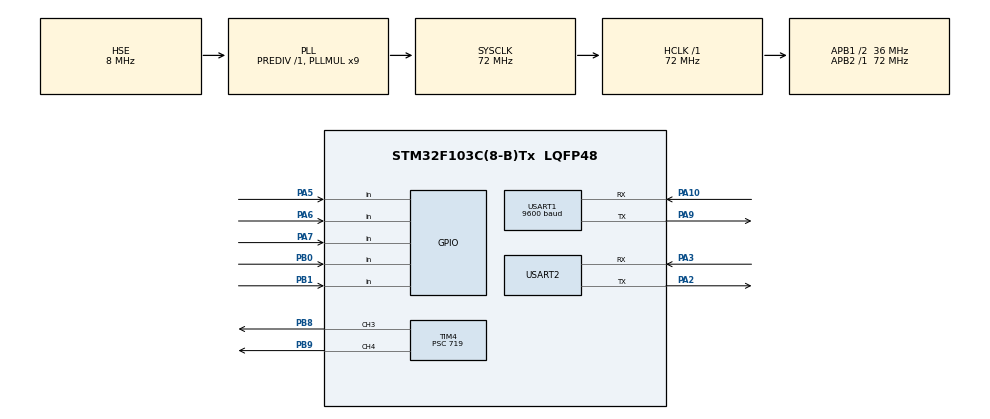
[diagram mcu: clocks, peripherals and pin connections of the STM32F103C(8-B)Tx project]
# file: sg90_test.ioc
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Mcu.Family=STM32F1
Mcu.Name=STM32F103C(8-B)Tx
Mcu.Package=LQFP48
NVIC.PriorityGroup=NVIC_PRIORITYGROUP_4
NVIC.USART1_IRQn=true\:0\:0\:false\:false\:true\:true\:true\:true
PA10.Mode=Asynchronous
PA10.Signal=USART1_RX
PA13.Mode=Serial_Wire
PA13.Signal=SYS_JTMS-SWDIO
PA14.Mode=Serial_Wire
PA14.Signal=SYS_JTCK-SWCLK
PA2.Mode=Asynchronous
PA2.Signal=USART2_TX
PA3.Mode=Asynchronous
PA3.Signal=USART2_RX
PA5.GPIO_PuPd=GPIO_PULLUP
PA5.Signal=GPIO_Input
PA6.GPIO_PuPd=GPIO_PULLUP
PA6.Signal=GPIO_Input
PA7.GPIO_PuPd=GPIO_PULLUP
PA7.Signal=GPIO_Input
PA9.Mode=Asynchronous
PA9.Signal=USART1_TX
PB0.GPIO_PuPd=GPIO_PULLUP
PB0.Signal=GPIO_Input
PB1.GPIO_PuPd=GPIO_PULLUP
PB1.Signal=GPIO_Input
PB8.Signal=S_TIM4_CH3
PB9.Signal=S_TIM4_CH4
PD0-OSC_IN.Mode=HSE-External-Oscillator
PD0-OSC_IN.Signal=RCC_OSC_IN
PD1-OSC_OUT.Mode=HSE-External-Oscillator
PD1-OSC_OUT.Signal=RCC_OSC_OUT
ProjectManager.HeapSize=0x200
ProjectManager.StackSize=0x400
ProjectManager.TargetToolchain=MDK-ARM V5.32
RCC.AHBFreq_Value=72000000
RCC.APB1CLKDivider=RCC_HCLK_DIV2
RCC.APB1Freq_Value=36000000
RCC.APB1TimFreq_Value=72000000
RCC.APB2Freq_Value=72000000
RCC.APB2TimFreq_Value=72000000
RCC.HCLKFreq_Value=72000000
RCC.PLLMUL=RCC_PLL_MUL9
RCC.PLLSourceVirtual=RCC_PLLSOURCE_HSE
RCC.SYSCLKFreq_VALUE=72000000
RCC.SYSCLKSource=RCC_SYSCLKSOURCE_PLLCLK
RCC.USBFreq_Value=72000000
SH.S_TIM4_CH3.0=TIM4_CH3,PWM Generation3 CH3
SH.S_TIM4_CH4.0=TIM4_CH4,PWM Generation4 CH4
TIM4.AutoReloadPreload=TIM_AUTORELOAD_PRELOAD_ENABLE
TIM4.Channel-PWM\ Generation3\ CH3=TIM_CHANNEL_3
TIM4.Channel-PWM\ Generation4\ CH4=TIM_CHANNEL_4
TIM4.Period=1999
TIM4.Prescaler=719
USART1.BaudRate=9600
USART1.VirtualMode=VM_ASYNC
USART2.VirtualMode=VM_ASYNC
VP_TIM4_VS_ClockSourceINT.Mode=Internal
board=custom

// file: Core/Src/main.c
/* USER CODE BEGIN Header */
/**
  ******************************************************************************
  * @file           : main.c
  * @brief          : Main program body
  ******************************************************************************
  * @attention
  *
  * Copyright (c) 2022 STMicroelectronics.
  * All rights reserved.
  *
  * This software is licensed under terms that can be found in the LICENSE file
  * in the root directory of this software component.
  * If no LICENSE file comes with this software, it is provided AS-IS.
  *
  ******************************************************************************
  */
/* USER CODE END Header */
#include "main.h"
#include "tim.h"
#include "usart.h"
#include "gpio.h"

/* USER CODE BEGIN Includes */
#include "pid.h"
#include <stdio.h>
#include <string.h>
#include <stdlib.h>
/* USER CODE END Includes */

void SystemClock_Config(void);

/* USER CODE BEGIN 0 */
extern uint8_t buf;
float pwm_sx = 0,pwm_zy = 0;
int flag_3 = 0,flag_3_pr = 0;
float Openmv_X1,Openmv_Y2,Openmv_X3,Openmv_Y4,Openmv_X5,Openmv_Y6,Openmv_X7,Openmv_Y8,Openmv_X9,Openmv_Y0;
/* USER CODE END 0 */

int main(void)
{
  /* USER CODE BEGIN 1 */
	int flag_2 = 0,flag_2_sw = 0;

	int num = 0;
	unsigned char ch[20] = {0};
	int pwmval;
	float i;

  /* USER CODE END 1 */

  /* MCU Configuration--------------------------------------------------------*/

  /* Reset of all peripherals, Initializes the Flash interface and the Systick. */
  HAL_Init();

  /* Configure the system clock */
  SystemClock_Config();

  /* Initialize all configured peripherals */
  MX_GPIO_Init();
  MX_TIM4_Init();
  MX_USART1_UART_Init();
  MX_USART2_UART_Init();
  /* USER CODE BEGIN 2 */
	HAL_TIM_PWM_Start(&htim4,TIM_CHANNEL_3);
	HAL_TIM_PWM_Start(&htim4,TIM_CHANNEL_4);
	HAL_UART_Receive_IT(&huart1, &buf, 1);
	PID_Init();
  /* USER CODE END 2 */

  /* Infinite loop */
  while (1)
  {

    /* USER CODE BEGIN 3 */

		/********************第一题**********************************/

//		for(i=0;i<=249;i++)
//		{
//			__HAL_TIM_SetCompare(&htim4, TIM_CHANNEL_3, i);
//			HAL_Delay(40);
//		}
//		for(i=250;i>=1;i--)
//		{
//			__HAL_TIM_SetCompare(&htim4, TIM_CHANNEL_3, i);
//			HAL_Delay(40);
//		}
//		HAL_Delay(1000);
//		pwmval = (int)((1-((0.5+0/90.0)/20.0))) -5;
//		__HAL_TIM_SetCompare(&htim4, TIM_CHANNEL_3, pwmval); //180
//		printf("%d\r\n",pwmval);
//		HAL_Delay(1000);
//		pwmval = (int)((1-((0.5+45/90.0)/20.0))) -5;
//		__HAL_TIM_SetCompare(&htim4, TIM_CHANNEL_3, pwmval); //0
//		printf("%d\r\n",pwmval);
//		HAL_Delay(1000);
//		pwmval = (int)((1-((0.5+90/90.0)/20.0))) -5;
//		__HAL_TIM_SetCompare(&htim4, TIM_CHANNEL_3, pwmval); //45
//		printf("%d\r\n",pwmval);
//		HAL_Delay(1000);
//		pwmval = (int)((1-((0.5+135/90.0)/20.0))) -5;
//		__HAL_TIM_SetCompare(&htim4, TIM_CHANNEL_3, pwmval); //90
//		printf("%d\r\n",pwmval);
//		HAL_Delay(1000);
//		pwmval = (int)((1-((0.5+180/90.0)/20.0))) -5;
//		__HAL_TIM_SetCompare(&htim4, TIM_CHANNEL_3, pwmval); //135
//		printf("%d\r\n",pwmval);

//		for(i=0;i<=179;i++)
//		{
//			Servo_Control_sx(i);
//			HAL_Delay(2);
//		}
//		HAL_Delay(2);
//		for(i=180;i>=1;i--)
//		{
//			Servo_Control_sx(i);
//			HAL_Delay(2);
//		}
//		HAL_Delay(2);

		if(HAL_GPIO_ReadPin(GPIOA,GPIO_PIN_5) == GPIO_PIN_RESET)
		{
			__HAL_TIM_SetCompare(&htim4, TIM_CHANNEL_3, 140); //90
			__HAL_TIM_SetCompare(&htim4, TIM_CHANNEL_4, 160); //90
			HAL_Delay(1000);
			//pwm_sx = 149,pwm_zy = 149;
			__HAL_TIM_SetCompare(&htim4, TIM_CHANNEL_3, 149); //90
			__HAL_TIM_SetCompare(&htim4, TIM_CHANNEL_4, 149); //90
		}

		/********************第一题**********************************/

		/********************第二题**********************************/

		if(HAL_GPIO_ReadPin(GPIOA,GPIO_PIN_6) == GPIO_PIN_RESET)
		{
			flag_2 = 1;
		}

		if(flag_2 == 1)
		{
			for(i=150;i>=135;i--)//中间到中下
			{
				__HAL_TIM_SetCompare(&htim4, TIM_CHANNEL_3, i);
				HAL_Delay(20);
			}

			for(i=150;i<=165;i++)//中下到左下
			{
				__HAL_TIM_SetCompare(&htim4, TIM_CHANNEL_4, i);
				HAL_Delay(20);
			}

			for(i=135;i<=166;i++)//左下到左上
			{
				__HAL_TIM_SetCompare(&htim4, TIM_CHANNEL_3, i);
				HAL_Delay(20);
			}

			for(i=165;i>=134;i--)//左上到右上
			{
				__HAL_TIM_SetCompare(&htim4, TIM_CHANNEL_4, i);
				HAL_Delay(20);
			}

			for(i=166;i>=135;i--)//右上到右下
			{
				__HAL_TIM_SetCompare(&htim4, TIM_CHANNEL_3, i);
				HAL_Delay(20);
			}

			for(i=134;i<=150;i++)//右下到中下
			{
				__HAL_TIM_SetCompare(&htim4, TIM_CHANNEL_4, i);
				HAL_Delay(20);

			}

			for(i=135;i<=150;i++)//中下到中间
			{
				__HAL_TIM_SetCompare(&htim4, TIM_CHANNEL_3, i);
				HAL_Delay(20);
			}
			flag_2 = 0;
		}

		/********************第二题**********************************/

		/********************第三题**********************************/

		if(HAL_GPIO_ReadPin(GPIOA,GPIO_PIN_7) == GPIO_PIN_RESET)
		{
			flag_3 = 1;
			flag_3_pr = 6;
			PID_Init_3();
		}
		if(HAL_GPIO_ReadPin(GPIOB,GPIO_PIN_0) == GPIO_PIN_RESET)
		{
			flag_3 = 1;
			flag_3_pr = 1;
		}

		if(flag_3 == 1)
		{

			/**********写死***************/
			if(flag_3_pr == 6)
			{
				Openmv_X1 =-23;
				Openmv_Y2 = -17;
				implement(Openmv_X1,Openmv_Y2);
				flag_3_pr = 7;
				HAL_Delay(2000);
			}

			if(flag_3_pr == 7)
			{
				Openmv_X3=53;
				Openmv_Y4 = 3;
				implement(Openmv_X3,Openmv_Y4);
				flag_3_pr = 8;
				HAL_Delay(2000);
			}

			if(flag_3_pr == 8)
			{
				Openmv_X5 =0;
				Openmv_Y6 = 34;
				implement(Openmv_X5,Openmv_Y6);
				flag_3_pr = 9;
				HAL_Delay(2000);
			}

			if(flag_3_pr == 9)
			{
				Openmv_X5 =-57;
				Openmv_Y6 = 3;
				implement(Openmv_X5,Openmv_Y6);
				flag_3_pr = 10;
				HAL_Delay(2000);
			}

			if(flag_3_pr == 10)
			{
				Openmv_X9 =0;
				Openmv_Y0 =-36;
				implement(Openmv_X9,Openmv_Y0);
				flag_3_pr = 5;
				HAL_Delay(2000);
				PID_Init();
			}

//			/**********写死***************/
//
//
			if(flag_3_pr == 1)
			{
//				if(Openmv_X1==0)
//				{
//					HAL_UART_Transmit(&huart2, "1", strlen("1"),100);
//					HAL_UART_Receive(&huart2, ch, 19, 100);
//					Openmv_X1 = (float)atof(ch);
//					printf("px1:%f\r\n",Openmv_X1);
//					memset(ch, 0, strlen(ch));
//				}
//
//				if(Openmv_X1!=0)
//				{
//					HAL_UART_Transmit(&huart2, "2", strlen("2"),100);
//					HAL_UART_Receive(&huart2, ch, 19, 100);
//					Openmv_Y2 = (float)atof(ch);
//					printf("py2:%f\r\n",Openmv_Y2);
//					memset(ch, 0, strlen(ch));
//				}
//				if(Openmv_Y2!=0)
//				{
//					HAL_UART_Transmit(&huart2, "3", strlen("3"),100);
//					HAL_UART_Receive(&huart2, ch, 19, 100);
//					Openmv_X3 = (float)atof(ch);
//					printf("px3:%f\r\n",Openmv_X3);
//					memset(ch, 0, strlen(ch));
//				}
//				if(Openmv_X3!=0)
//				{
//					HAL_UART_Transmit(&huart2, "4", strlen("4"),100);
//					HAL_UART_Receive(&huart2, ch, 19, 100);
//					Openmv_Y4 = (float)atof(ch);
//					printf("py4:%f\r\n",Openmv_Y4);
//					memset(ch, 0, strlen(ch));
//				}
//				if(Openmv_Y4!=0)
//				{
//					HAL_UART_Transmit(&huart2, "5", strlen("5"),100);
//					HAL_UART_Receive(&huart2, ch, 19, 100);
//					Openmv_X5 = (float)atof(ch);
//					printf("px5:%f\r\n",Openmv_X5);
//					memset(ch, 0, strlen(ch));
//				}
//				if(Openmv_X5!=0)
//				{
//					HAL_UART_Transmit(&huart2, "6", strlen("6"),100);
//					HAL_UART_Receive(&huart2, ch, 19, 100);
//					Openmv_Y6 = (float)atof(ch);
//					printf("py6:%f\r\n",Openmv_Y6);
//					memset(ch, 0, strlen(ch));
//				}
//				if(Openmv_Y6!=0)
//				{
//					HAL_UART_Transmit(&huart2, "7", strlen("7"),100);
//					HAL_UART_Receive(&huart2, ch, 19, 100);
//					Openmv_X7 = (float)atof(ch);
//					printf("px7:%f\r\n",Openmv_X7);
//					memset(ch, 0, strlen(ch));
//				}
//				if(Openmv_X7!=0)
//				{
//					HAL_UART_Transmit(&huart2, "8", strlen("8"),100);
//					HAL_UART_Receive(&huart2, ch, 19, 100);
//					Openmv_Y8 = (float)atof(ch);
//					printf("py8:%f\r\n",Openmv_Y8);
//					memset(ch, 0, strlen(ch));
//				}
//				if(Openmv_Y8!=0)
//				{
//					HAL_UART_Transmit(&huart2, "9", strlen("9"),100);
//					HAL_UART_Receive(&huart2, ch, 19, 100);
//					Openmv_X9 = (float)atof(ch);
//					printf("px9:%f\r\n",Openmv_X9);
//					memset(ch, 0, strlen(ch));
//				}
//				if(Openmv_X9!=0)
//				{
//					HAL_UART_Transmit(&huart2, "0", strlen("0"),100);
//					HAL_UART_Receive(&huart2, ch, 19, 100);
//					Openmv_Y0 = (float)atof(ch);
//					printf("py0:%f\r\n",Openmv_Y0);
//					memset(ch, 0, strlen(ch));
//				}
//				if(Openmv_Y0!=0)
//				{
//					implement(Openmv_X1,Openmv_Y2);
//					HAL_Delay(1000);
//					implement(Openmv_X3,Openmv_Y4);
//					HAL_Delay(1000);
//					implement(Openmv_X5,Openmv_Y6);
//					HAL_Delay(1000);
//					implement(Openmv_X7,Openmv_Y8);
//					HAL_Delay(1000);
//					implement(Openmv_X9,Openmv_Y0);
//					HAL_Delay(1000);
//					Openmv_X1=0,Openmv_Y2=0,Openmv_X3=0,Openmv_Y4=0,Openmv_X5=0,Openmv_Y6=0,Openmv_X7=0,Openmv_Y8=0,Openmv_X9=0,Openmv_Y0=0;
//					flag_3_pr = 5;
//				}

				HAL_UART_Transmit(&huart2, "1", strlen("1"),120);
				for(i = 0;i<10;i++)
				{

					if(i==0)
					{
						HAL_UART_Receive(&huart2, ch, 19, 100);
						Openmv_X1 = (float)atof(ch);
						printf("px1:%f\r\n",Openmv_X1);
						memset(ch, 0, strlen(ch));
						//HAL_Delay(100);
					}
					if(i==1)
					{
						HAL_UART_Receive(&huart2, ch, 19, 100);
						Openmv_Y2 = (float)atof(ch);
						printf("py2:%f\r\n",Openmv_Y2);
						memset(ch, 0, strlen(ch));
						//HAL_Delay(100);
					}
					if(i==2)
					{
						HAL_UART_Receive(&huart2, ch, 19, 100);
						Openmv_X3 = (float)atof(ch);
						printf("px3:%f\r\n",Openmv_X3);
						memset(ch, 0, strlen(ch));
						//HAL_Delay(100);
					}
					if(i==3)
					{
						HAL_UART_Receive(&huart2, ch, 19, 100);
						Openmv_Y4 = (float)atof(ch);
						printf("py4:%f\r\n",Openmv_Y4);
						memset(ch, 0, strlen(ch));
						//HAL_Delay(100);
					}
					if(i==4)
					{
						HAL_UART_Receive(&huart2, ch, 19, 100);
						Openmv_X5 = (float)atof(ch);
						printf("px5:%f\r\n",Openmv_X5);
						memset(ch, 0, strlen(ch));
						//HAL_Delay(100);
					}
					if(i==5)
					{
						HAL_UART_Receive(&huart2, ch, 19, 100);
						Openmv_Y6 = (float)atof(ch);
						printf("py6:%f\r\n",Openmv_Y6);
						memset(ch, 0, strlen(ch));
						//HAL_Delay(100);
					}
					if(i==6)
					{
						HAL_UART_Receive(&huart2, ch, 19, 100);
						Openmv_X7 = (float)atof(ch);
						printf("px7:%f\r\n",Openmv_X7);
						memset(ch, 0, strlen(ch));
						//HAL_Delay(100);
					}
					if(i==7)
					{
						HAL_UART_Receive(&huart2, ch, 19, 100);
						Openmv_Y8 = (float)atof(ch);
						printf("py8:%f\r\n",Openmv_Y8);
						memset(ch, 0, strlen(ch));
						//HAL_Delay(100);
					}
					if(i==8)
					{
						HAL_UART_Receive(&huart2, ch, 19, 100);
						Openmv_X9 = (float)atof(ch);
						printf("px9:%f\r\n",Openmv_X9);
						memset(ch, 0, strlen(ch));
						//HAL_Delay(100);
					}
					if(i==9)
					{
						HAL_UART_Receive(&huart2, ch, 19, 100);
						Openmv_Y0 = (float)atof(ch);
						printf("py0:%f\r\n",Openmv_Y0);
						memset(ch, 0, strlen(ch));
						//HAL_Delay(100);
					}
				}

				HAL_Delay(100);

				implement(Openmv_X1,Openmv_Y2);
				HAL_Delay(2000);
				implement(Openmv_X3,Openmv_Y4);
				HAL_Delay(2000);
				implement(Openmv_X5,Openmv_Y6);
				HAL_Delay(2000);
				implement(Openmv_X7,Openmv_Y8);
				HAL_Delay(2000);
				implement(Openmv_X9,Openmv_Y0);
				HAL_Delay(2000);
				flag_3_pr = 5;

			}

			if(flag_3_pr == 5)
			{
				flag_3_pr = 0;
				flag_3 = 0;
				__HAL_TIM_SetCompare(&htim4, TIM_CHANNEL_3, 150); //90
				__HAL_TIM_SetCompare(&htim4, TIM_CHANNEL_4, 149); //90
			}
		}

//
//		HAL_UART_Receive(&huart1, ch, 19, 100);
//		printf(ch);
//		if()
//		{
//			pwm_sx += 0.01;
//			__HAL_TIM_SetCompare(&htim4, TIM_CHANNEL_3, pwm_sx);
//			printf("sx=%f\r\n",pwm_sx);
//			printf("pys2");
//		}
//		memset(ch, 0, strlen(ch));

//		if(HAL_GPIO_ReadPin(GPIOA,GPIO_PIN_6) == GPIO_PIN_RESET)
//		{
//
//			flag_2 = 1;
//			flag_2_sw = 1;
//		}
//

//		if(flag_2 == 1)
//		{
//
//			switch(flag_2_sw)
//			{
//				case 1:			//从中心向下移动（迅速）
//				{
//					pwm_sx = 13.5;
//					__HAL_TIM_SetCompare(&htim4, TIM_CHANNEL_3, pwm_sx); //75左右
//					HAL_Delay(1000);
//					flag_2_sw = 2;
//					break;
//				}
//
//				case 2:			//从中下向左移动（缓慢）
//				{

//					pwm_zy = 16.5;
//					__HAL_TIM_SetCompare(&htim4, TIM_CHANNEL_4, pwm_zy); //105
//					HAL_Delay(1000);
//					if(pwm_zy>17.5)
//					{
//						flag_2_sw = 3;
//						break;
//					}

//				}
//
//				case 3:			//从左下角向上移动（缓慢）
//				{

//						pwm_sx = 16.5;
//						__HAL_TIM_SetCompare(&htim4, TIM_CHANNEL_3, pwm_sx); //105
//						HAL_Delay(1000);
//						if(pwm_sx>17.5)
//						{
//							flag_2_sw = 4;
//							break;
//						}

//				}
//
//				case 4:			//从左上角向右移动（缓慢）
//				{

//						pwm_zy = 13.5;
//						__HAL_TIM_SetCompare(&htim4, TIM_CHANNEL_4, pwm_zy); //75
//						HAL_Delay(1000);
//						if(pwm_zy<12.5)
//						{
//							flag_2_sw = 5;
//							break;
//						}

//				}
//
//				case 5:			//从右上角向下移动（缓慢）
//				{

//						pwm_sx = 13.5;
//						__HAL_TIM_SetCompare(&htim4, TIM_CHANNEL_3, pwm_sx); //75
//						HAL_Delay(1000);
//						if(pwm_sx<12.5)
//						{
//							flag_2_sw = 6;
//							break;
//						}
//
//				}

//				case 6:			//从右下角向中下移动（缓慢）
//				{

//						pwm_zy = 15;
//						__HAL_TIM_SetCompare(&htim4, TIM_CHANNEL_4, pwm_zy); //90
//						HAL_Delay(1000);
//						if(pwm_zy>15)
//						{
//							flag_2_sw = 7;
//							break;
//						}
//
//				}
//
//				case 7:			//从中下向中心移动（迅速）
//				{
//					pwm_sx = 15,pwm_zy = 15;
//					__HAL_TIM_SetCompare(&htim4, TIM_CHANNEL_3, pwm_sx); //90
//					__HAL_TIM_SetCompare(&htim4, TIM_CHANNEL_4, pwm_zy); //90
//					HAL_Delay(1000);
//					flag_2 = 2;
//					break;
//				}
//			}
//
//
//		}

//		HAL_Delay(1000);
//		__HAL_TIM_SetCompare(&htim4, TIM_CHANNEL_3, 5); //0
//		__HAL_TIM_SetCompare(&htim4, TIM_CHANNEL_4, 5); //0
//		HAL_Delay(1000);
//		__HAL_TIM_SetCompare(&htim4, TIM_CHANNEL_3, 10); //45
//		__HAL_TIM_SetCompare(&htim4, TIM_CHANNEL_4, 10); //45
//		HAL_Delay(1000);
//		__HAL_TIM_SetCompare(&htim4, TIM_CHANNEL_3, 15); //90
//		__HAL_TIM_SetCompare(&htim4, TIM_CHANNEL_4, 15); //90
//		HAL_Delay(1000);
//		__HAL_TIM_SetCompare(&htim4, TIM_CHANNEL_3, 20); //135
//		__HAL_TIM_SetCompare(&htim4, TIM_CHANNEL_4, 20); //135
//		HAL_Delay(1000);
//		__HAL_TIM_SetCompare(&htim4, TIM_CHANNEL_3, 25); //180
//		__HAL_TIM_SetCompare(&htim4, TIM_CHANNEL_4, 25); //180

  }
  /* USER CODE END 3 */
}

void SystemClock_Config(void)
{
  RCC_OscInitTypeDef RCC_OscInitStruct = {0};
  RCC_ClkInitTypeDef RCC_ClkInitStruct = {0};

  /** Initializes the RCC Oscillators according to the specified parameters
  * in the RCC_OscInitTypeDef structure.
  */
  RCC_OscInitStruct.OscillatorType = RCC_OSCILLATORTYPE_HSE;
  RCC_OscInitStruct.HSEState = RCC_HSE_ON;
  RCC_OscInitStruct.HSEPredivValue = RCC_HSE_PREDIV_DIV1;
  RCC_OscInitStruct.HSIState = RCC_HSI_ON;
  RCC_OscInitStruct.PLL.PLLState = RCC_PLL_ON;
  RCC_OscInitStruct.PLL.PLLSource = RCC_PLLSOURCE_HSE;
  RCC_OscInitStruct.PLL.PLLMUL = RCC_PLL_MUL9;
  if (HAL_RCC_OscConfig(&RCC_OscInitStruct) != HAL_OK)
  {
    Error_Handler();
  }

  /** Initializes the CPU, AHB and APB buses clocks
  */
  RCC_ClkInitStruct.ClockType = RCC_CLOCKTYPE_HCLK|RCC_CLOCKTYPE_SYSCLK
                              |RCC_CLOCKTYPE_PCLK1|RCC_CLOCKTYPE_PCLK2;
  RCC_ClkInitStruct.SYSCLKSource = RCC_SYSCLKSOURCE_PLLCLK;
  RCC_ClkInitStruct.AHBCLKDivider = RCC_SYSCLK_DIV1;
  RCC_ClkInitStruct.APB1CLKDivider = RCC_HCLK_DIV2;
  RCC_ClkInitStruct.APB2CLKDivider = RCC_HCLK_DIV1;

  if (HAL_RCC_ClockConfig(&RCC_ClkInitStruct, FLASH_LATENCY_2) != HAL_OK)
  {
    Error_Handler();
  }
}

void Error_Handler(void)
{
  __disable_irq();
  while (1)
  {
  }
}
